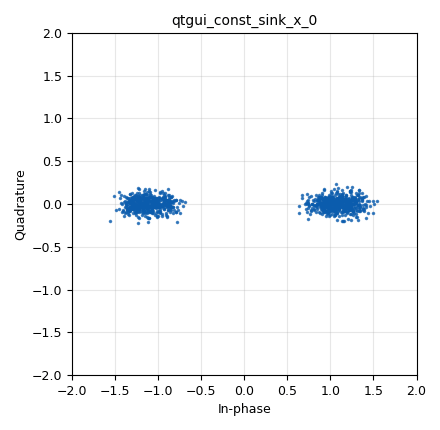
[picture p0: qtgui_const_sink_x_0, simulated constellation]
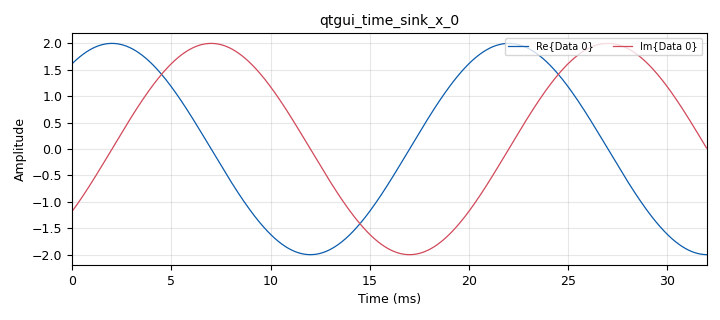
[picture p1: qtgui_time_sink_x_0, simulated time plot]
options:
  parameters:
    generate_options: qt_gui
    id: default
    output_language: python
    title: Not titled yet
  states: {}

blocks:
- name: samp_rate
  id: variable
  parameters:
    value: '32000'
  states: {}
- name: analog_noise_source_x_0
  id: analog_noise_source_x
  parameters:
    amp: '0.1'
    noise_type: analog.GR_GAUSSIAN
    seed: '0'
    type: complex
  states: {}
- name: analog_noise_source_x_1
  id: analog_noise_source_x
  parameters:
    amp: '0'
    noise_type: analog.GR_GAUSSIAN
    seed: '0'
    type: complex
  states: {}
- name: analog_random_uniform_source_x_0
  id: analog_random_uniform_source_x
  parameters:
    maximum: '256'
    minimum: '0'
    seed: '0'
    type: byte
  states: {}
- name: analog_sig_source_x_0
  id: analog_sig_source_x
  parameters:
    amp: '2'
    freq: '50'
    offset: '0'
    phase: '0'
    samp_rate: samp_rate
    type: complex
    waveform: analog.GR_COS_WAVE
  states: {}
- name: blocks_add_xx_0
  id: blocks_add_xx
  parameters:
    type: complex
  states: {}
- name: blocks_add_xx_1
  id: blocks_add_xx
  parameters:
    type: complex
  states: {}
- name: blocks_throttle_0
  id: blocks_throttle
  parameters:
    samples_per_second: samp_rate
    type: byte
  states: {}
- name: blocks_throttle_1
  id: blocks_throttle
  parameters:
    samples_per_second: samp_rate
    type: complex
  states: {}
- name: digital_clock_recovery_mm_xx_0
  id: digital_clock_recovery_mm_xx
  parameters:
    gain_mu: '0.175'
    gain_omega: 0.25*0.175*0.175
    mu: '0.5'
    omega: '4'
    omega_relative_limit: '0.005'
    type: complex
  states: {}
- name: digital_costas_loop_cc_0
  id: digital_costas_loop_cc
  parameters:
    order: '2'
    w: '0.05'
  states: {}
- name: digital_psk_mod_0
  id: digital_psk_mod
  parameters:
    constellation_points: '2'
    differential: 'True'
    excess_bw: '0.35'
    mod_code: '"gray"'
    samples_per_symbol: '4'
  states: {}
- name: qtgui_const_sink_x_0
  id: qtgui_const_sink_x
  parameters:
    size: '1024'
    type: complex
  states: {}
- name: qtgui_time_sink_x_0
  id: qtgui_time_sink_x
  parameters:
    autoscale: 'True'
    size: '1024'
    srate: samp_rate
    type: complex
    ymax: '2'
    ymin: '-2'
  states: {}

connections:
- [analog_noise_source_x_0, '0', blocks_add_xx_0, '1']
- [analog_noise_source_x_1, '0', blocks_add_xx_1, '0']
- [analog_random_uniform_source_x_0, '0', blocks_throttle_0, '0']
- [analog_sig_source_x_0, '0', blocks_add_xx_1, '1']
- [blocks_add_xx_0, '0', digital_costas_loop_cc_0, '0']
- [blocks_add_xx_1, '0', blocks_throttle_1, '0']
- [blocks_throttle_0, '0', digital_psk_mod_0, '0']
- [blocks_throttle_1, '0', qtgui_time_sink_x_0, '0']
- [digital_clock_recovery_mm_xx_0, '0', qtgui_const_sink_x_0, '0']
- [digital_costas_loop_cc_0, '0', digital_clock_recovery_mm_xx_0, '0']
- [digital_psk_mod_0, '0', blocks_add_xx_0, '0']

metadata:
  file_format: 1
  grc_version: 3.10.3.0
